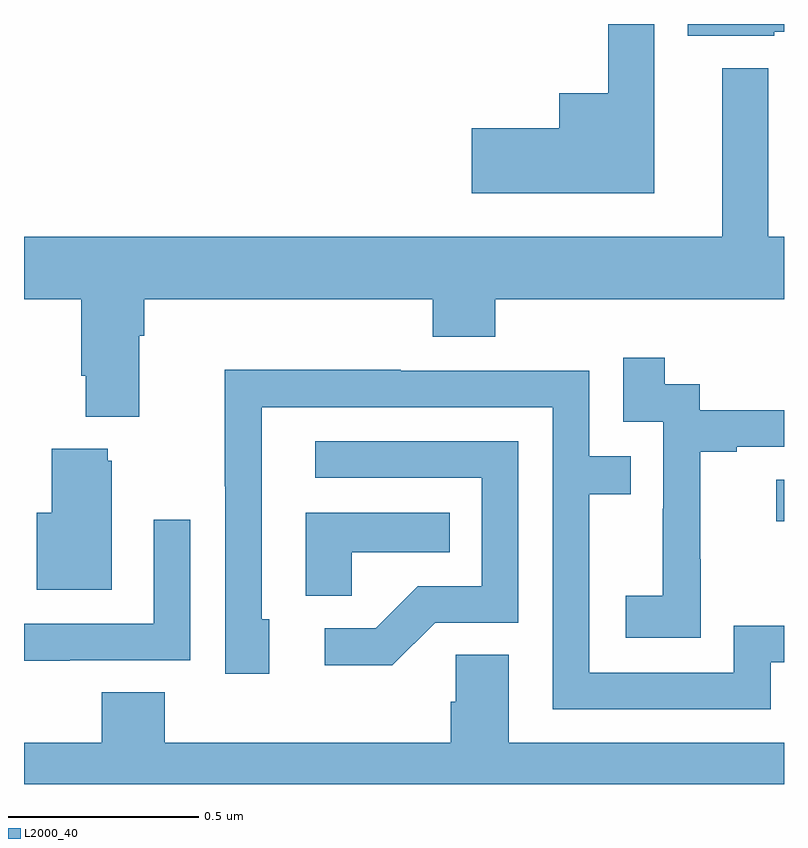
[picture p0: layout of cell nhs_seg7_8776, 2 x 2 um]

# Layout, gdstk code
import gdstk
lib = gdstk.Library(unit=1e-6, precision=1e-09)
def R(c, l, rs):  # rectangles x0, y0, x1, y1
    for r in rs: c.add(gdstk.rectangle(r[:2], r[2:], *l))
def P(c, l, *ps):  # polygons
    for p in ps: c.add(gdstk.Polygon(p, *l))
L2000_40 = (2000, 40)

nhs_seg7_8776 = lib.new_cell('nhs_seg7_8776')
R(nhs_seg7_8776, L2000_40, [(230.979,1006.691,231,1006.801)])
P(nhs_seg7_8776, L2000_40, [(230.974,1007.98),(231,1007.98),(231,1008),(230.747,1008),(230.747,1007.969),(230.974,1007.969)],
  [(230.659,1008),(230.538,1008),(230.538,1007.818),(230.408,1007.818),(230.408,1007.726),(230.178,1007.726),(230.178,1007.555),(230.659,1007.555)],
  [(229.303,1007.18),(229.316,1007.18),(229.316,1007.276),(230.075,1007.276),(230.075,1007.177),(230.24,1007.177),(230.24,1007.276),(231,1007.276),(231,1007.44),(230.959,1007.44),(230.959,1007.884),(230.837,1007.884),(230.837,1007.44),(229,1007.44),(229,1007.276),(229.151,1007.276),(229.151,1007.074),(229.163,1007.074),(229.163,1006.967),(229.303,1006.967)],
  [(230.781,1006.591),(230.78,1006.591),(230.78,1006.875),(230.875,1006.875),(230.875,1006.887),(231,1006.887),(231,1006.983),(230.778,1006.983),(230.778,1007.052),(230.686,1007.052),(230.686,1007.122),(230.577,1007.122),(230.577,1006.953),(230.682,1006.953),(230.682,1006.724),(230.681,1006.724),(230.681,1006.495),(230.583,1006.495),(230.583,1006.385),(230.781,1006.385)],
  [(230.965,1006.32),(231,1006.32),(231,1006.416),(230.868,1006.416),(230.868,1006.293),(230.487,1006.293),(230.487,1006.762),(230.597,1006.762),(230.597,1006.863),(230.487,1006.863),(230.487,1007.088),(229.991,1007.088),(229.991,1007.09),(229.528,1007.09),(229.528,1006.783),(229.53,1006.783),(229.53,1006.29),(229.645,1006.29),(229.645,1006.434),(229.626,1006.434),(229.626,1006.992),(230.391,1006.992),(230.391,1006.197),(230.965,1006.197)],
  [(230.082,1006.425),(230.301,1006.425),(230.301,1006.902),(229.767,1006.902),(229.767,1006.806),(230.205,1006.806),(230.205,1006.521),(230.036,1006.521),(229.925,1006.41),(229.791,1006.41),(229.791,1006.313),(229.969,1006.313)],
  [(229.231,1006.851),(229.22,1006.851),(229.22,1006.882),(229.073,1006.882),(229.073,1006.714),(229.034,1006.714),(229.034,1006.511),(229.231,1006.511)],
  [(229.863,1006.61),(230.12,1006.61),(230.12,1006.714),(229.742,1006.714),(229.742,1006.495),(229.863,1006.495)],
  [(229.121,1006.326),(229.437,1006.326),(229.437,1006.696),(229.341,1006.696),(229.341,1006.422),(229,1006.422),(229,1006.325),(229.121,1006.325)],
  [(231,1006.108),(230.275,1006.108),(230.275,1006.34),(230.136,1006.34),(230.136,1006.217),(230.123,1006.217),(230.123,1006.108),(229.37,1006.108),(229.37,1006.241),(229.205,1006.241),(229.205,1006.108),(229,1006.108),(229,1006),(231,1006)])

lib.write_gds('nhs_seg7_8776.gds')
